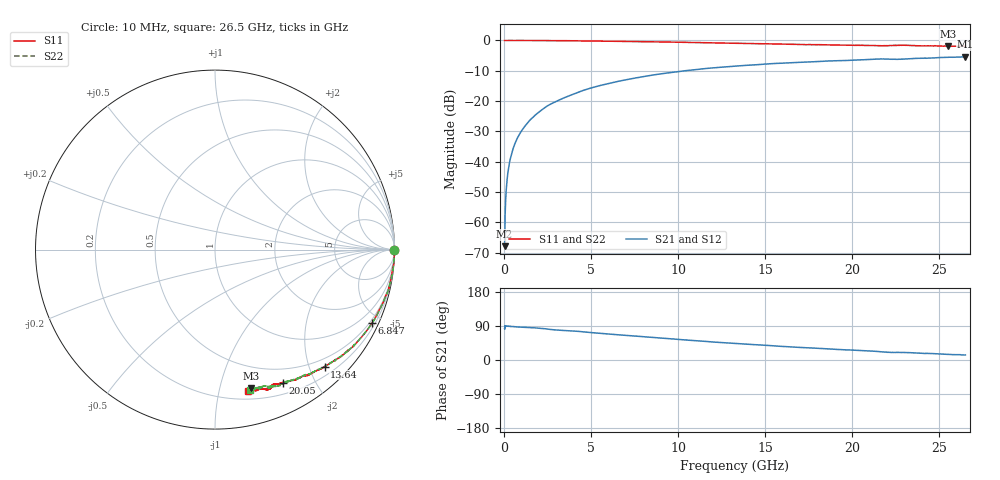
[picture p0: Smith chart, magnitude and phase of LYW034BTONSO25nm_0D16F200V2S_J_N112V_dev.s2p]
!Keysight Technologies,N5222B,MY61253708,A.15.00.15
!Date: Wednesday, June 19, 2024 09:45:22
!Correction: S11(C  2-Port  )
!S21(C  2-Port  )
!S12(C  2-Port  )
!S22(C  2-Port  )
!S2P File: Measurements: S11, S21, S12, S22:
# Hz S  RI  R 50
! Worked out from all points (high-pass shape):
!   2651 points, 10 MHz to 26.5 GHz, reference 50 ohm
!   highest |S21| = -5.39 dB at 26.5 GHz (marker M1); lowest = -67.9 dB at 10 MHz (marker M2)
!   |S21| within 3 dB of the highest: 13.45 GHz to end of sweep
!   lowest |S11| = -2.0 dB at 25.5 GHz (marker M3), VSWR 8.90, Z = 14.7 - j62.6 ohm
!   |S11| at or under -10 dB: nowhere
!   |S22| runs from -1.9 to 0.0 dB; largest |S21 - S12| = 0.0064
!   S11 on the Smith chart (normalised r, x): 10 MHz: open; 6.847 GHz: 0.37, -4.46; 13.64 GHz: 0.35, -2.26; 20.05 GHz: 0.32, -1.58; 26.5 GHz: 0.27, -1.22
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1e7  0.9987 -0.00249  5.23e-05 0.0004  0.000154 0.000195  0.9989 -0.00155
7.997358e7  1 -0.00576  1.95e-05 0.00267  1.66e-05 0.00265  0.9994 -0.00531
1.599434e8  0.9999 -0.0114  6.43e-05 0.00528  6.32e-05 0.00532  0.9996 -0.0107
1.999283e8  1 -0.0136  0.000106 0.00661  6.82e-05 0.00664  0.9996 -0.013
2.499094e8  0.9996 -0.0172  0.000139 0.00824  0.000147 0.00834  0.9993 -0.0164
3.498717e8  0.9997 -0.0239  0.000237 0.0116  0.000283 0.0117  0.9994 -0.0231
4.798226e8  0.9988 -0.0326  0.000501 0.0158  0.000486 0.016  0.9986 -0.0316
6.29766e8  0.9988 -0.0421  0.000883 0.0207  0.000902 0.0209  0.9986 -0.0416
8.196943e8  0.998 -0.0547  0.00143 0.0269  0.00144 0.0272  0.9978 -0.0539
1.449457e9  0.9907 -0.0974  0.00345 0.0478  0.00353 0.0481  0.993 -0.0942
2.329125e9  0.982 -0.1515  0.00989 0.0776  0.0102 0.0782  0.983 -0.1524
3.208792e9  0.9709 -0.2075  0.0211 0.1039  0.0214 0.1046  0.9705 -0.2072
4.428332e9  0.9426 -0.2804  0.0384 0.1415  0.0389 0.1424  0.944 -0.2783
6.847419e9  0.8741 -0.4101  0.0919 0.2006  0.0932 0.2014  0.8753 -0.4098
8.846664e9  0.8032 -0.5018  0.145 0.2365  0.1467 0.2372  0.8036 -0.5012
1.3255e10  0.6273 -0.6418  0.2723 0.2606  0.2748 0.2603  0.6294 -0.641
1.364485e10  0.6104 -0.6524  0.2835 0.2597  0.285 0.2594  0.6137 -0.6493
1.767333e10  0.4556 -0.7212  0.3785 0.2328  0.382 0.2309  0.464 -0.7188
2.005243e10  0.3782 -0.7436  0.4251 0.2082  0.4275 0.2049  0.3898 -0.7417
2.209166e10  0.3201 -0.7542  0.461 0.1707  0.4629 0.1676  0.3124 -0.7597
2.550038e10  0.2012 -0.7721  0.5101 0.1342  0.5116 0.1335  0.22 -0.774
2.65e10  0.1818 -0.786  0.5234 0.1229  0.5231 0.1189  0.1938 -0.7837
